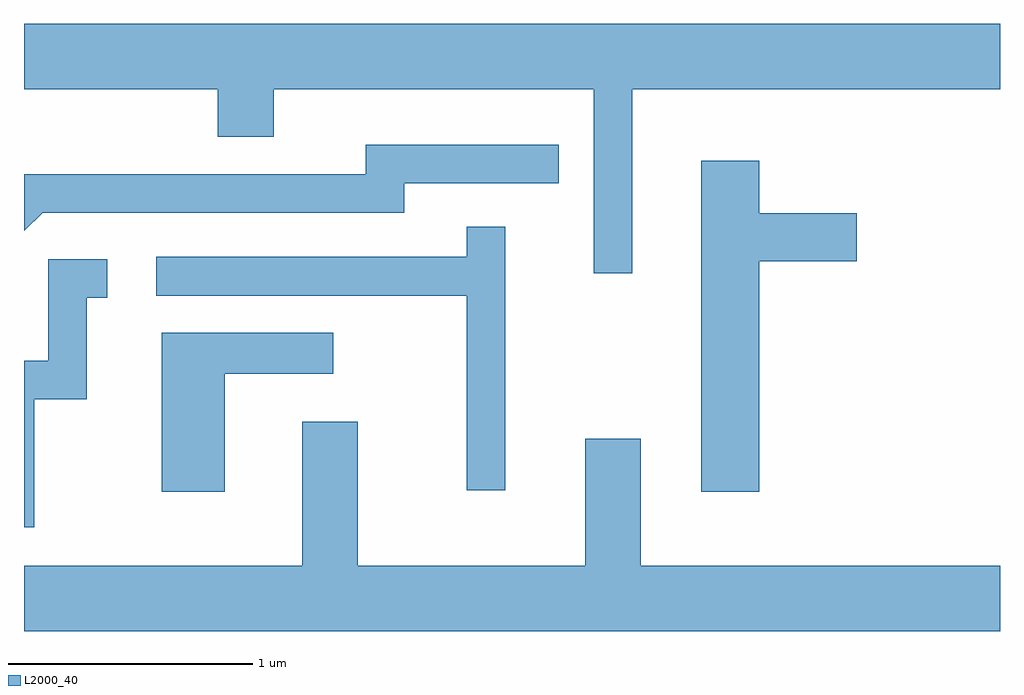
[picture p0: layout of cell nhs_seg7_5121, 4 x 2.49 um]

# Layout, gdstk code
import gdstk
lib = gdstk.Library(unit=1e-6, precision=1e-09)
def P(c, l, *ps):  # polygons
    for p in ps: c.add(gdstk.Polygon(p, *l))
L2000_40 = (2000, 40)

nhs_seg7_5121 = lib.new_cell('nhs_seg7_5121')
P(nhs_seg7_5121, L2000_40, [(344.104,1745.396),(345.611,1745.396),(345.611,1745.664),(341.611,1745.664),(341.611,1745.396),(342.406,1745.396),(342.406,1745.201),(342.634,1745.201),(342.634,1745.396),(343.946,1745.396),(343.946,1744.643),(344.104,1744.643)],
  [(341.687,1744.891),(343.169,1744.891),(343.169,1745.011),(343.803,1745.011),(343.803,1745.169),(343.011,1745.169),(343.011,1745.049),(341.611,1745.049),(341.611,1744.816)],
  [(344.624,1744.691),(345.024,1744.691),(345.024,1744.889),(344.624,1744.889),(344.624,1745.104),(344.386,1745.104),(344.386,1743.746),(344.624,1743.746)],
  [(343.584,1744.833),(343.426,1744.833),(343.426,1744.709),(342.153,1744.709),(342.153,1744.551),(343.426,1744.551),(343.426,1743.753),(343.584,1743.753)],
  [(341.654,1744.126),(341.869,1744.126),(341.869,1744.541),(341.953,1744.541),(341.953,1744.699),(341.711,1744.699),(341.711,1744.284),(341.611,1744.284),(341.611,1743.601),(341.654,1743.601)],
  [(342.434,1744.231),(342.878,1744.231),(342.878,1744.399),(342.176,1744.399),(342.176,1743.746),(342.434,1743.746)],
  [(345.611,1743.444),(344.139,1743.444),(344.139,1743.964),(343.911,1743.964),(343.911,1743.444),(342.979,1743.444),(342.979,1744.034),(342.751,1744.034),(342.751,1743.444),(341.611,1743.444),(341.611,1743.176),(345.611,1743.176)])

lib.write_gds('nhs_seg7_5121.gds')
